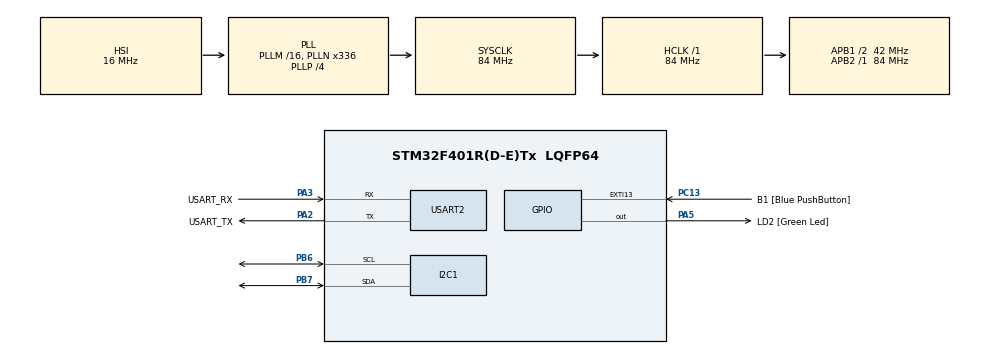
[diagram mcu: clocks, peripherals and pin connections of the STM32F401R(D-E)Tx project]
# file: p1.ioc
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Mcu.Family=STM32F4
Mcu.Name=STM32F401R(D-E)Tx
Mcu.Package=LQFP64
NVIC.PriorityGroup=NVIC_PRIORITYGROUP_0
NVIC.RTC_WKUP_IRQn=true\:0\:0\:false\:false\:true\:true\:true\:true
NVIC.USART2_IRQn=true\:0\:0\:false\:false\:true\:true\:true\:true
PA13.GPIO_Label=TMS
PA13.Mode=Serial_Wire
PA13.Signal=SYS_JTMS-SWDIO
PA14.GPIO_Label=TCK
PA14.Mode=Serial_Wire
PA14.Signal=SYS_JTCK-SWCLK
PA2.GPIO_Label=USART_TX
PA2.GPIO_Mode=GPIO_MODE_AF_PP
PA2.GPIO_PuPd=GPIO_NOPULL
PA2.GPIO_Speed=GPIO_SPEED_FREQ_LOW
PA2.Mode=Asynchronous
PA2.Signal=USART2_TX
PA3.GPIO_Label=USART_RX
PA3.GPIO_Mode=GPIO_MODE_AF_PP
PA3.GPIO_PuPd=GPIO_NOPULL
PA3.GPIO_Speed=GPIO_SPEED_FREQ_LOW
PA3.Mode=Asynchronous
PA3.Signal=USART2_RX
PA5.GPIO_Label=LD2 [Green Led]
PA5.GPIO_Mode=GPIO_MODE_OUTPUT_PP
PA5.GPIO_PuPd=GPIO_NOPULL
PA5.GPIO_Speed=GPIO_SPEED_FREQ_LOW
PA5.Signal=GPIO_Output
PB3.GPIO_Label=SWO
PB3.Signal=SYS_JTDO-SWO
PB6.Mode=I2C
PB6.Signal=I2C1_SCL
PB7.Mode=I2C
PB7.Signal=I2C1_SDA
PC13-ANTI_TAMP.GPIO_Label=B1 [Blue PushButton]
PC13-ANTI_TAMP.GPIO_ModeDefaultEXTI=GPIO_MODE_IT_FALLING
PC13-ANTI_TAMP.GPIO_PuPd=GPIO_NOPULL
PC13-ANTI_TAMP.Signal=GPXTI13
PC14-OSC32_IN.Mode=LSE-External-Oscillator
PC14-OSC32_IN.Signal=RCC_OSC32_IN
PC15-OSC32_OUT.Mode=LSE-External-Oscillator
PC15-OSC32_OUT.Signal=RCC_OSC32_OUT
PH0\ -\ OSC_IN.Mode=HSE-External-Clock-Source
PH0\ -\ OSC_IN.Signal=RCC_OSC_IN
PH1\ -\ OSC_OUT.Mode=HSE-External-Clock-Source
PH1\ -\ OSC_OUT.Signal=RCC_OSC_OUT
ProjectManager.HeapSize=0x200
ProjectManager.StackSize=0x400
ProjectManager.TargetToolchain=STM32CubeIDE
RCC.48MHZClocksFreq_Value=48000000
RCC.AHBFreq_Value=84000000
RCC.APB1CLKDivider=RCC_HCLK_DIV2
RCC.APB1Freq_Value=42000000
RCC.APB1TimFreq_Value=84000000
RCC.APB2Freq_Value=84000000
RCC.APB2TimFreq_Value=84000000
RCC.CortexFreq_Value=84000000
RCC.HCLKFreq_Value=84000000
RCC.HSE_VALUE=8000000
RCC.HSI_VALUE=16000000
RCC.PLLN=336
RCC.PLLP=RCC_PLLP_DIV4
RCC.PLLQ=7
RCC.SYSCLKFreq_VALUE=84000000
RCC.SYSCLKSource=RCC_SYSCLKSOURCE_PLLCLK
RCC.VCOOutputFreq_Value=336000000
USART2.VirtualMode=VM_ASYNC
VP_RTC_VS_RTC_Activate.Mode=RTC_Enabled
VP_RTC_VS_RTC_WakeUp_intern.Mode=WakeUp
board=NUCLEO-F401RE

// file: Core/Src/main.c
/* USER CODE BEGIN Header */
/**
  ******************************************************************************
  * @file           : main.c
  * @brief          : Low-power environmental monitoring node
  *
  * This firmware implements an interrupt-driven, low-power environmental
  * monitoring system using an STM32 Nucleo-F401RE and a BME280 sensor.
  *
  * The MCU remains in STOP mode most of the time and wakes up periodically
  * via an RTC wake-up timer. On each wake event, the system clock is restored,
  * a single sensor measurement is performed over I2C, compensation is applied
  * using calibration data stored in sensor NVM, and the results are printed
  * over UART before returning to sleep.
  *
  * No external sensor libraries are used. All sensor communication and
  * compensation logic is implemented directly from the Bosch datasheet.
  ******************************************************************************
  */
/* USER CODE END Header */

#include "main.h"

/* USER CODE BEGIN Includes */
#include <string.h>
#include <stdio.h>
/* USER CODE END Includes */

/* USER CODE BEGIN PTD */

/* Forward declarations for local helper functions */
void uart_print(char *msg);
void I2C_Scan(void);
uint8_t BME280_ReadID(void);

/**
 * @brief Holds BME280 factory calibration coefficients.
 *
 * These values are read once from the sensor's non-volatile memory at boot
 * and reused for all subsequent compensation calculations.
 */
typedef struct {
    uint16_t dig_T1;
    int16_t  dig_T2;
    int16_t  dig_T3;

    uint16_t dig_P1;
    int16_t  dig_P2;
    int16_t  dig_P3;
    int16_t  dig_P4;
    int16_t  dig_P5;
    int16_t  dig_P6;
    int16_t  dig_P7;
    int16_t  dig_P8;
    int16_t  dig_P9;

    uint8_t  dig_H1;
    int16_t  dig_H2;
    uint8_t  dig_H3;
    int16_t  dig_H4;
    int16_t  dig_H5;
    int8_t   dig_H6;
} BME280_CalibData;

/* USER CODE END PTD */

I2C_HandleTypeDef hi2c1;

RTC_HandleTypeDef hrtc;

UART_HandleTypeDef huart2;

/* USER CODE BEGIN PV */

/* Shared intermediate value required for pressure and humidity compensation */
int32_t t_fine;

/* Flag set by RTC interrupt to signal a wake-up event */
volatile uint8_t rtc_wakeup_flag = 0;

/* Global calibration data (read once at boot) */
BME280_CalibData calib;

/* USER CODE END PV */

void SystemClock_Config(void);
static void MX_GPIO_Init(void);
static void MX_USART2_UART_Init(void);
static void MX_I2C1_Init(void);
static void MX_RTC_Init(void);

/* USER CODE BEGIN PFP */

/* Low-level BME280 I2C access primitives */
void BME280_Read(uint8_t reg, uint8_t *data, uint16_t len);
void BME280_Write(uint8_t reg, uint8_t data);

#define BME280_ADDR (0x76 << 1)

/* USER CODE END PFP */

/* USER CODE BEGIN 0 */

/**
 * @brief Read registers from BME280 over I2C.
 *
 * Performs a register address write followed by a multi-byte read.
 */
void BME280_Read(uint8_t reg, uint8_t *data, uint16_t len)
{
    HAL_I2C_Master_Transmit(&hi2c1, BME280_ADDR, &reg, 1, HAL_MAX_DELAY);
    HAL_I2C_Master_Receive(&hi2c1, BME280_ADDR, data, len, HAL_MAX_DELAY);
}

/**
 * @brief Write a single register in the BME280.
 */
void BME280_Write(uint8_t reg, uint8_t data)
{
    uint8_t buf[2] = {reg, data};
    HAL_I2C_Master_Transmit(&hi2c1, BME280_ADDR, buf, 2, HAL_MAX_DELAY);
}

/**
 * @brief Scan I2C bus for connected devices.
 *
 * Used during bring-up and debugging to verify I2C connectivity.
 */
void I2C_Scan(void)
{
    char msg[64];
    uint8_t found = 0;

    for (uint8_t addr = 8; addr < 0x78; addr++)
    {
        if (HAL_I2C_IsDeviceReady(&hi2c1, (addr << 1), 2, 10) == HAL_OK)
        {
            snprintf(msg, sizeof(msg), "I2C device found at 0x%02X\r\n", addr);
            HAL_UART_Transmit(&huart2, (uint8_t*)msg, strlen(msg), HAL_MAX_DELAY);
            found = 1;
        }
    }

    if (!found)
    {
        char no_dev[] = "No I2C devices found\r\n";
        HAL_UART_Transmit(&huart2, (uint8_t*)no_dev, strlen(no_dev), HAL_MAX_DELAY);
    }
}

/**
 * @brief Lightweight UART print helper.
 *
 * Used only in main context (never inside interrupts).
 */
void uart_print(char *msg)
{
    HAL_UART_Transmit(&huart2, (uint8_t*)msg, strlen(msg), HAL_MAX_DELAY);
}

/**
 * @brief Read factory calibration coefficients from BME280 NVM.
 *
 * These values are required for accurate compensation of raw ADC readings.
 */
void BME280_ReadCalibration(BME280_CalibData *cal)
{
    uint8_t buf[26];
    BME280_Read(0x88, buf, 26);

    cal->dig_T1 = (buf[1] << 8) | buf[0];
    cal->dig_T2 = (buf[3] << 8) | buf[2];
    cal->dig_T3 = (buf[5] << 8) | buf[4];

    cal->dig_P1 = (buf[7] << 8) | buf[6];
    cal->dig_P2 = (buf[9] << 8) | buf[8];
    cal->dig_P3 = (buf[11] << 8) | buf[10];
    cal->dig_P4 = (buf[13] << 8) | buf[12];
    cal->dig_P5 = (buf[15] << 8) | buf[14];
    cal->dig_P6 = (buf[17] << 8) | buf[16];
    cal->dig_P7 = (buf[19] << 8) | buf[18];
    cal->dig_P8 = (buf[21] << 8) | buf[20];
    cal->dig_P9 = (buf[23] << 8) | buf[22];

    BME280_Read(0xA1, &cal->dig_H1, 1);

    uint8_t buf2[7];
    BME280_Read(0xE1, buf2, 7);

    cal->dig_H2 = (buf2[1] << 8) | buf2[0];
    cal->dig_H3 = buf2[2];
    cal->dig_H4 = (buf2[3] << 4) | (buf2[4] & 0x0F);
    cal->dig_H5 = (buf2[5] << 4) | (buf2[4] >> 4);
    cal->dig_H6 = (int8_t)buf2[6];
}

/**
 * @brief Configure BME280 measurement settings.
 *
 * Sets oversampling and normal mode operation.
 */
void BME280_Init(void)
{
	    BME280_Write(0xF2, 0x01);  // Humidity oversampling x1
	    BME280_Write(0xF5, 0x00);  // Standby irrelevant in forced mode
	    BME280_Write(0xF4, 0x25);  // Temp & pressure x1, FORCED mode
}

/**
 * @brief Read raw uncompensated ADC values from BME280.
 *
 * Reads pressure, temperature, and humidity registers in a single burst.
 */
void BME280_ReadRaw(int32_t *raw_temp, int32_t *raw_press, int32_t *raw_hum)
{
    uint8_t buf[8];

    // Data registers start at 0xF7
    BME280_Read(0xF7, buf, 8);

    // Pressure (20-bit)
    *raw_press = (int32_t)(
        (buf[0] << 12) |
        (buf[1] << 4)  |
        (buf[2] >> 4)
    );

    // Temperature (20-bit)
    *raw_temp = (int32_t)(
        (buf[3] << 12) |
        (buf[4] << 4)  |
        (buf[5] >> 4)
    );

    // Humidity (16-bit)
    *raw_hum = (int32_t)(
        (buf[6] << 8) |
        buf[7]
    );
}

/* Compensation functions follow Bosch reference implementation.
 * Fixed-point arithmetic is used for deterministic execution.
 */

int32_t BME280_Compensate_Temperature(int32_t adc_T, BME280_CalibData *cal)
{
    int32_t var1, var2, T;

    var1 = ((((adc_T >> 3) - ((int32_t)cal->dig_T1 << 1))) *
            ((int32_t)cal->dig_T2)) >> 11;

    var2 = (((((adc_T >> 4) - ((int32_t)cal->dig_T1)) *
              ((adc_T >> 4) - ((int32_t)cal->dig_T1))) >> 12) *
            ((int32_t)cal->dig_T3)) >> 14;

    t_fine = var1 + var2;

    T = (t_fine * 5 + 128) >> 8;   // temperature in 0.01 °C

    return T;
}

uint32_t BME280_Compensate_Pressure(int32_t adc_P, BME280_CalibData *cal)
{
    int64_t var1, var2, p;

    var1 = ((int64_t)t_fine) - 128000;
    var2 = var1 * var1 * (int64_t)cal->dig_P6;
    var2 = var2 + ((var1 * (int64_t)cal->dig_P5) << 17);
    var2 = var2 + (((int64_t)cal->dig_P4) << 35);
    var1 = ((var1 * var1 * (int64_t)cal->dig_P3) >> 8) +
           ((var1 * (int64_t)cal->dig_P2) << 12);
    var1 = (((((int64_t)1) << 47) + var1)) *
           ((int64_t)cal->dig_P1) >> 33;

    if (var1 == 0)
        return 0; // avoid division by zero

    p = 1048576 - adc_P;
    p = (((p << 31) - var2) * 3125) / var1;
    var1 = (((int64_t)cal->dig_P9) * (p >> 13) * (p >> 13)) >> 25;
    var2 = (((int64_t)cal->dig_P8) * p) >> 19;

    p = ((p + var1 + var2) >> 8) + (((int64_t)cal->dig_P7) << 4);

    return (uint32_t)p;  // pressure in Pa (Q24.8 format)
}

uint32_t BME280_Compensate_Humidity(int32_t adc_H, BME280_CalibData *cal)
{
    int32_t v_x1_u32r;

    v_x1_u32r = t_fine - ((int32_t)76800);

    v_x1_u32r = (((((adc_H << 14) -
                     (((int32_t)cal->dig_H4) << 20) -
                     (((int32_t)cal->dig_H5) * v_x1_u32r)) +
                    ((int32_t)16384)) >> 15) *
                  (((((((v_x1_u32r * ((int32_t)cal->dig_H6)) >> 10) *
                       (((v_x1_u32r * ((int32_t)cal->dig_H3)) >> 11) +
                        ((int32_t)32768))) >> 10) +
                     ((int32_t)2097152)) *
                    ((int32_t)cal->dig_H2) + 8192) >> 14));

    v_x1_u32r = v_x1_u32r -
                (((((v_x1_u32r >> 15) * (v_x1_u32r >> 15)) >> 7) *
                  ((int32_t)cal->dig_H1)) >> 4);

    if (v_x1_u32r < 0)
        v_x1_u32r = 0;
    if (v_x1_u32r > 419430400)
        v_x1_u32r = 419430400;

    return (uint32_t)(v_x1_u32r >> 12);  // humidity in %RH × 1024
}

/**
 * @brief RTC wake-up interrupt callback.
 *
 * ISR only sets a flag; all processing is deferred to main loop.
 */
void HAL_RTCEx_WakeUpTimerEventCallback(RTC_HandleTypeDef *hrtc)
{
    rtc_wakeup_flag = 1;
}

/**
 * @brief Perform one complete sensor measurement and print results.
 *
 * Called only after RTC wake-up. Executes quickly and does not block.
 */
void Read_And_Print_Sensor(void)
{
	BME280_Write(0xF4, 0x25);   // Trigger forced measurement
	HAL_Delay(10);             // Wait for conversion (~7ms worst case)

    int32_t raw_t, raw_p, raw_h;
    int32_t temp;
    uint32_t press, hum;

    BME280_ReadRaw(&raw_t, &raw_p, &raw_h);

    temp  = BME280_Compensate_Temperature(raw_t, &calib);
    press = BME280_Compensate_Pressure(raw_p, &calib);
    hum   = BME280_Compensate_Humidity(raw_h, &calib);

    char msg[120];
    snprintf(msg, sizeof(msg),
             "[RTC] T=%ld.%02ld C  P=%lu Pa  H=%lu %%\r\n",
             temp / 100,
             temp % 100,
             press / 256,
             hum / 1024);

    uart_print(msg);
}

/* USER CODE END 0 */

int main(void)
{
	 HAL_Init();
	    SystemClock_Config();

	    MX_GPIO_Init();
	    MX_USART2_UART_Init();
	    MX_I2C1_Init();
	    MX_RTC_Init();

	    uart_print("BOOT OK\r\n");

	    BME280_ReadCalibration(&calib);
	    BME280_Init();

	    uart_print("Sensor ready\r\n");

	    // Configure RTC ONCE
	    HAL_RTCEx_DeactivateWakeUpTimer(&hrtc);
	    HAL_RTCEx_SetWakeUpTimer_IT(
	        &hrtc,
	        5,
	        RTC_WAKEUPCLOCK_CK_SPRE_16BITS
	    );

	    /* Infinite loop */
  while (1)
  {
	  /* Enter STOP mode */
	  if (rtc_wakeup_flag)
	         {
	             rtc_wakeup_flag = 0;

	             // REQUIRED after STOP
	             SystemClock_Config();

	             HAL_ResumeTick();

	             __HAL_RCC_USART2_CLK_ENABLE();
	             MX_USART2_UART_Init();

	             Read_And_Print_Sensor();
	         }
	  __HAL_RCC_USART2_CLK_DISABLE();
	  HAL_SuspendTick();

	         // Enter STOP mode
	         HAL_PWR_EnterSTOPMode(
	             PWR_LOWPOWERREGULATOR_ON,
	             PWR_STOPENTRY_WFI
	         );

  }
}

void SystemClock_Config(void)
{
  RCC_OscInitTypeDef RCC_OscInitStruct = {0};
  RCC_ClkInitTypeDef RCC_ClkInitStruct = {0};

  /** Configure the main internal regulator output voltage
  */
  __HAL_RCC_PWR_CLK_ENABLE();
  __HAL_PWR_VOLTAGESCALING_CONFIG(PWR_REGULATOR_VOLTAGE_SCALE2);

  /** Initializes the RCC Oscillators according to the specified parameters
  * in the RCC_OscInitTypeDef structure.
  */
  RCC_OscInitStruct.OscillatorType = RCC_OSCILLATORTYPE_HSI|RCC_OSCILLATORTYPE_LSI;
  RCC_OscInitStruct.HSIState = RCC_HSI_ON;
  RCC_OscInitStruct.HSICalibrationValue = RCC_HSICALIBRATION_DEFAULT;
  RCC_OscInitStruct.LSIState = RCC_LSI_ON;
  RCC_OscInitStruct.PLL.PLLState = RCC_PLL_ON;
  RCC_OscInitStruct.PLL.PLLSource = RCC_PLLSOURCE_HSI;
  RCC_OscInitStruct.PLL.PLLM = 16;
  RCC_OscInitStruct.PLL.PLLN = 336;
  RCC_OscInitStruct.PLL.PLLP = RCC_PLLP_DIV4;
  RCC_OscInitStruct.PLL.PLLQ = 7;
  if (HAL_RCC_OscConfig(&RCC_OscInitStruct) != HAL_OK)
  {
    Error_Handler();
  }

  /** Initializes the CPU, AHB and APB buses clocks
  */
  RCC_ClkInitStruct.ClockType = RCC_CLOCKTYPE_HCLK|RCC_CLOCKTYPE_SYSCLK
                              |RCC_CLOCKTYPE_PCLK1|RCC_CLOCKTYPE_PCLK2;
  RCC_ClkInitStruct.SYSCLKSource = RCC_SYSCLKSOURCE_PLLCLK;
  RCC_ClkInitStruct.AHBCLKDivider = RCC_SYSCLK_DIV1;
  RCC_ClkInitStruct.APB1CLKDivider = RCC_HCLK_DIV2;
  RCC_ClkInitStruct.APB2CLKDivider = RCC_HCLK_DIV1;

  if (HAL_RCC_ClockConfig(&RCC_ClkInitStruct, FLASH_LATENCY_2) != HAL_OK)
  {
    Error_Handler();
  }
}

static void MX_I2C1_Init(void)
{

  hi2c1.Instance = I2C1;
  hi2c1.Init.ClockSpeed = 100000;
  hi2c1.Init.DutyCycle = I2C_DUTYCYCLE_2;
  hi2c1.Init.OwnAddress1 = 0;
  hi2c1.Init.AddressingMode = I2C_ADDRESSINGMODE_7BIT;
  hi2c1.Init.DualAddressMode = I2C_DUALADDRESS_DISABLE;
  hi2c1.Init.OwnAddress2 = 0;
  hi2c1.Init.GeneralCallMode = I2C_GENERALCALL_DISABLE;
  hi2c1.Init.NoStretchMode = I2C_NOSTRETCH_DISABLE;
  if (HAL_I2C_Init(&hi2c1) != HAL_OK)
  {
    Error_Handler();
  }

}

static void MX_RTC_Init(void)
{

  RTC_TimeTypeDef sTime = {0};
  RTC_DateTypeDef sDate = {0};

  /** Initialize RTC Only
  */
  hrtc.Instance = RTC;
  hrtc.Init.HourFormat = RTC_HOURFORMAT_24;
  hrtc.Init.AsynchPrediv = 127;
  hrtc.Init.SynchPrediv = 255;
  hrtc.Init.OutPut = RTC_OUTPUT_DISABLE;
  hrtc.Init.OutPutPolarity = RTC_OUTPUT_POLARITY_HIGH;
  hrtc.Init.OutPutType = RTC_OUTPUT_TYPE_OPENDRAIN;
  if (HAL_RTC_Init(&hrtc) != HAL_OK)
  {
    Error_Handler();
  }

  /** Initialize RTC and set the Time and Date
  */
  sTime.Hours = 0x0;
  sTime.Minutes = 0x0;
  sTime.Seconds = 0x0;
  sTime.DayLightSaving = RTC_DAYLIGHTSAVING_NONE;
  sTime.StoreOperation = RTC_STOREOPERATION_RESET;
  if (HAL_RTC_SetTime(&hrtc, &sTime, RTC_FORMAT_BCD) != HAL_OK)
  {
    Error_Handler();
  }
  sDate.WeekDay = RTC_WEEKDAY_MONDAY;
  sDate.Month = RTC_MONTH_JANUARY;
  sDate.Date = 0x1;
  sDate.Year = 0x0;

  if (HAL_RTC_SetDate(&hrtc, &sDate, RTC_FORMAT_BCD) != HAL_OK)
  {
    Error_Handler();
  }

  /** Enable the WakeUp
  */
  if (HAL_RTCEx_SetWakeUpTimer_IT(&hrtc, 0, RTC_WAKEUPCLOCK_RTCCLK_DIV16) != HAL_OK)
  {
    Error_Handler();
  }

}

static void MX_USART2_UART_Init(void)
{

  huart2.Instance = USART2;
  huart2.Init.BaudRate = 115200;
  huart2.Init.WordLength = UART_WORDLENGTH_8B;
  huart2.Init.StopBits = UART_STOPBITS_1;
  huart2.Init.Parity = UART_PARITY_NONE;
  huart2.Init.Mode = UART_MODE_TX_RX;
  huart2.Init.HwFlowCtl = UART_HWCONTROL_NONE;
  huart2.Init.OverSampling = UART_OVERSAMPLING_16;
  if (HAL_UART_Init(&huart2) != HAL_OK)
  {
    Error_Handler();
  }

}

static void MX_GPIO_Init(void)
{
  GPIO_InitTypeDef GPIO_InitStruct = {0};

  /* GPIO Ports Clock Enable */
  __HAL_RCC_GPIOC_CLK_ENABLE();
  __HAL_RCC_GPIOH_CLK_ENABLE();
  __HAL_RCC_GPIOA_CLK_ENABLE();
  __HAL_RCC_GPIOB_CLK_ENABLE();

  /*Configure GPIO pin Output Level */
  HAL_GPIO_WritePin(LD2_GPIO_Port, LD2_Pin, GPIO_PIN_RESET);

  /*Configure GPIO pin : B1_Pin */
  GPIO_InitStruct.Pin = B1_Pin;
  GPIO_InitStruct.Mode = GPIO_MODE_IT_FALLING;
  GPIO_InitStruct.Pull = GPIO_NOPULL;
  HAL_GPIO_Init(B1_GPIO_Port, &GPIO_InitStruct);

  /*Configure GPIO pin : LD2_Pin */
  GPIO_InitStruct.Pin = LD2_Pin;
  GPIO_InitStruct.Mode = GPIO_MODE_OUTPUT_PP;
  GPIO_InitStruct.Pull = GPIO_NOPULL;
  GPIO_InitStruct.Speed = GPIO_SPEED_FREQ_LOW;
  HAL_GPIO_Init(LD2_GPIO_Port, &GPIO_InitStruct);

}

void Error_Handler(void)
{
  __disable_irq();
  while (1)
  {
  }
}
